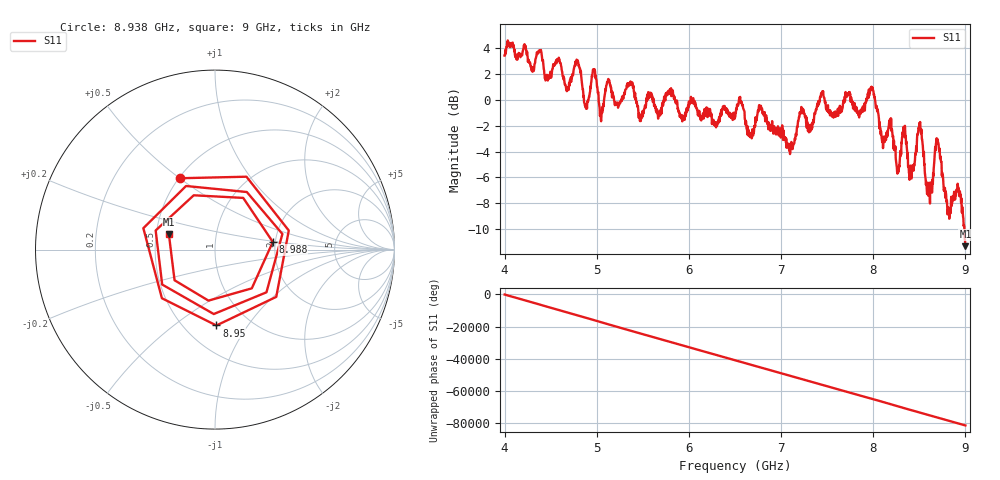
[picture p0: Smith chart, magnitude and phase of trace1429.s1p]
! Created with skrf 1.8.0 (http://scikit-rf.org).
# Hz S RI R 50.0
!freq ReS11 ImS11
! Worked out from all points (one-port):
!   1601 points, 4 GHz to 9 GHz, reference 50 ohm
!   lowest |S11| = -11.3 dB at 9 GHz (marker M1), VSWR 1.75, Z = 29.2 + j5.49 ohm
!   |S11| at or under -10 dB: 8.988924 GHz to end of sweep
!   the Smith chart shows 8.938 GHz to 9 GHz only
!   S11 on the Smith chart (normalised r, x): 8.938 GHz: 0.51, +0.50; 8.95 GHz: 0.71, -0.73; 8.988 GHz: 1.94, +0.19; 9 GHz: 0.58, +0.11
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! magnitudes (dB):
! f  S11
! 4 GHz  3.4
! 4.625 GHz  2.2
! 4.884 GHz  -0.7
! 5.25 GHz  -0.2
! 5.362 GHz  1.2
! 5.478 GHz  -1.6
! 5.875 GHz  -0.3
! 6.5 GHz  -1.4
! 7.125 GHz  -3.8
! 7.222 GHz  -0.9
! 7.316 GHz  -2.4
! 7.441 GHz  0.5
! 7.75 GHz  0.5
! 7.991 GHz  1.0
! 8.1 GHz  -2.9
! 8.191 GHz  -2.2
! 8.269 GHz  -5.3
! 8.338 GHz  -2.5
! 8.375 GHz  -4.1
! 8.419 GHz  -5.4
! 8.503 GHz  -1.9
! 8.591 GHz  -6.5
! 8.697 GHz  -3.3
! 8.816 GHz  -8.3
! 8.938 GHz  -7.1
! 8.95 GHz  -7.5
! 8.988 GHz  -9.8
! 9 GHz  -11.3
